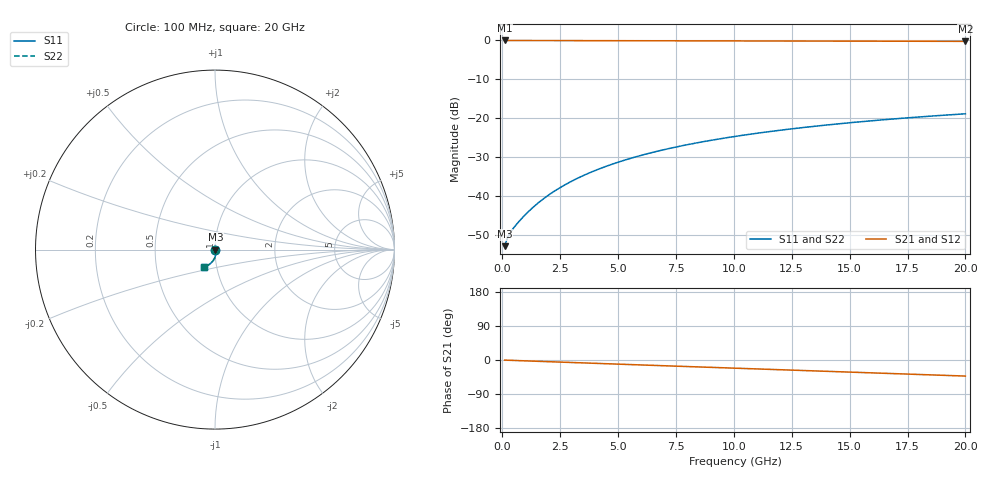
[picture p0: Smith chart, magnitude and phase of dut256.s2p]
! Touchstone file exported from HFSS 2026.1.0
!  File:  C:/ffzhzh/LocalFiles/Ansys_Project_Files/temp_train_BSMRDL_256_1782988688_41620.aedt
!  Generated:  06:39:10 PM Jul  2, 2026
!  Design:  BSMRDL
!  Project:  temp_train_BSMRDL_256_1782988688_41620
! Variables:
!  h_bsmrdl = 4.99um
!  h_ox = 20um
!  h_rdl = 5um
!  h_sub = 80um
!  h_tmrdl = 5um
!  h_tsv = 80um
!  h_via = 3um
!  l_bsmrdl = 751.36um
!  l_sub = 1151.36um
!  l_tmrdl = 200um
!  m_sub = 200um
!  pitch = 33.12um
!  r_tsv = 6um
!  s_tmrdl = 10um
!  w_bsmrdl = 29.3um
!  w_sub = 500um
!  w_tmrdl = 12um
!  x_tsv_center1 = 206um
!  x_tsv_center2 = 986.66um
!  x_tsv_center3 = 1198.66um
!  x_tsv_center4 = 1979.32um
!  x_tsv_center5 = 2191.32um
!  x_tsv_center6 = 2971.98um
# GHz S MA R 50.000000
! Terminal data exported
! Port[1] = BSM_RDL1_1_T1
! Port[2] = BSM_RDL1_1_T2
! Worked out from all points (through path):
!   200 points, 100 MHz to 20 GHz, reference 50 ohm
!   highest |S21| = -0.02 dB at 100 MHz (marker M1); lowest = -0.2 dB at 20 GHz (marker M2)
!   group delay of S21, straight-line fit = 5.86 ps
!   lowest |S11| = -52.9 dB at 100 MHz (marker M3), VSWR 1.00, Z = 50.2 + j0.0258 ohm
!   |S11| at or under -10 dB: start of sweep to end of sweep
!   |S22| runs from -52.9 to -18.9 dB; largest |S21 - S12| = 4e-15
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0.1  0.002253 6.5  0.9978 -0.3  0.9978 -0.3  0.002253 6.5
! Gamma 0 0 0 0
! Port Impedance 50 0 50 0
0.2  0.002758 2.4  0.9972 -0.5  0.9972 -0.5  0.002758 2.4
0.3  0.003195 -5.7  0.9968 -0.7  0.9968 -0.7  0.003195 -5.7
0.4  0.003566 -13.7  0.9965 -0.9  0.9965 -0.9  0.003567 -13.7
0.6  0.004254 -27.2  0.9962 -1.4  0.9962 -1.4  0.004256 -27.2
0.8  0.004971 -37.2  0.9959 -1.8  0.9959 -1.8  0.004974 -37.1
1  0.005742 -44.6  0.9957 -2.3  0.9957 -2.3  0.005747 -44.6
1.3  0.006993 -52.6  0.9954 -2.9  0.9954 -2.9  0.007 -52.5
1.8  0.009276 -61.0  0.9949 -4.0  0.9949 -4.0  0.009285 -61.0
2.3  0.01175 -66.4  0.9943 -5.1  0.9943 -5.1  0.01176 -66.3
2.9  0.01491 -70.9  0.9934 -6.4  0.9934 -6.4  0.01493 -70.8
3.5  0.01825 -74.3  0.9926 -7.7  0.9926 -7.7  0.01827 -74.2
4.2  0.02231 -77.7  0.9915 -9.2  0.9915 -9.2  0.02234 -77.6
5  0.0271 -81.1  0.9904 -11.0  0.9904 -11.0  0.02713 -81.0
5.9  0.03259 -84.6  0.9891 -12.9  0.9891 -12.9  0.03264 -84.4
6.8  0.03815 -87.8  0.9879 -14.8  0.9879 -14.8  0.03821 -87.5
8.3  0.04742 -92.7  0.9861 -17.9  0.9861 -17.9  0.0475 -92.4
10.1  0.05844 -98.0  0.9839 -21.7  0.9839 -21.7  0.05855 -97.7
11.7  0.06806 -102.5  0.982 -25.1  0.982 -25.1  0.06819 -102.1
13.4  0.07804 -106.9  0.98 -28.7  0.98 -28.7  0.0782 -106.5
16.7  0.09655 -115.1  0.9759 -35.5  0.9759 -35.5  0.09677 -114.6
20  0.1136 -122.9  0.9718 -42.4  0.9718 -42.4  0.1139 -122.3
